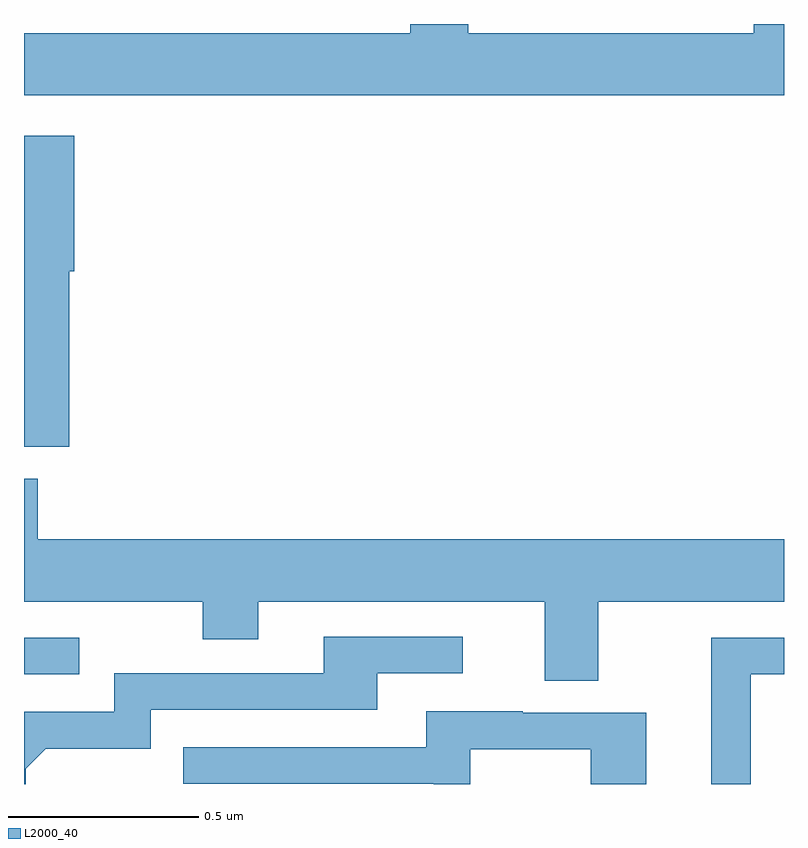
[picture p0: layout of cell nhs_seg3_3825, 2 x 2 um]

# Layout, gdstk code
import gdstk
lib = gdstk.Library(unit=1e-6, precision=1e-09)
def R(c, l, rs):  # rectangles x0, y0, x1, y1
    for r in rs: c.add(gdstk.rectangle(r[:2], r[2:], *l))
def P(c, l, *ps):  # polygons
    for p in ps: c.add(gdstk.Polygon(p, *l))
L2000_40 = (2000, 40)

nhs_seg3_3825 = lib.new_cell('nhs_seg3_3825')
R(nhs_seg3_3825, L2000_40, [(158,736.689,158.146,736.785)])
P(nhs_seg3_3825, L2000_40, [(160,738.4),(159.921,738.4),(159.921,738.376),(159.169,738.376),(159.169,738.4),(159.017,738.4),(159.017,738.376),(158,738.376),(158,738.212),(160,738.212)],
  [(158.119,737.75),(158.132,737.75),(158.132,738.106),(158,738.106),(158,737.288),(158.119,737.288)],
  [(159.511,736.88),(160,736.88),(160,737.044),(158.036,737.044),(158.036,737.203),(158,737.203),(158,736.88),(158.47,736.88),(158.47,736.781),(158.617,736.781),(158.617,736.88),(159.371,736.88),(159.371,736.672),(159.511,736.672)],
  [(158.004,736.44),(158.057,736.493),(158.334,736.493),(158.334,736.596),(158.929,736.596),(158.929,736.692),(159.154,736.692),(159.154,736.788),(158.789,736.788),(158.789,736.692),(158.238,736.692),(158.238,736.59),(158,736.59),(158,736.4),(158.004,736.4)],
  [(159.913,736.689),(160,736.689),(160,736.785),(159.809,736.785),(159.809,736.4),(159.913,736.4)],
  [(159.174,736.491),(159.492,736.491),(159.492,736.4),(159.637,736.4),(159.637,736.587),(159.313,736.587),(159.313,736.591),(159.059,736.591),(159.059,736.497),(158.419,736.497),(158.419,736.401),(159.078,736.401),(159.078,736.4),(159.174,736.4)])

lib.write_gds('nhs_seg3_3825.gds')
